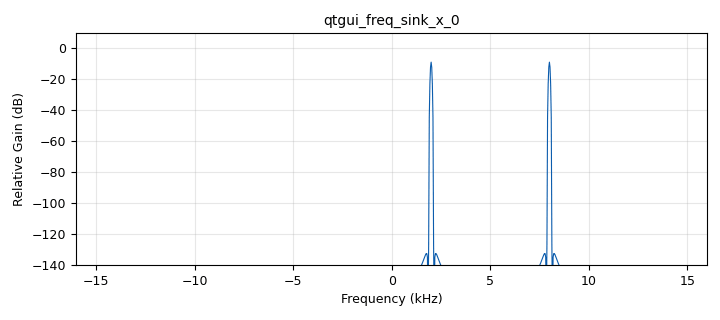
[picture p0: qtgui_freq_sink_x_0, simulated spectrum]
options:
  parameters:
    generate_options: qt_gui
    id: frequency_sum_test
    output_language: python
    title: Not titled yet
  states: {}

blocks:
- name: samp_rate
  id: variable
  parameters:
    value: '32000'
  states: {}
- name: analog_sig_source_x_0
  id: analog_sig_source_x
  parameters:
    amp: '1'
    freq: 8e3
    offset: '0'
    phase: '0'
    samp_rate: samp_rate
    type: complex
    waveform: analog.GR_COS_WAVE
  states: {}
- name: analog_sig_source_x_0_0
  id: analog_sig_source_x
  parameters:
    amp: '1'
    freq: 2e3
    offset: '0'
    phase: '0'
    samp_rate: samp_rate
    type: complex
    waveform: analog.GR_COS_WAVE
  states: {}
- name: blocks_add_xx_0
  id: blocks_add_xx
  parameters:
    type: complex
  states: {}
- name: blocks_throttle_0
  id: blocks_throttle
  parameters:
    samples_per_second: samp_rate
    type: complex
  states: {state: disabled}
- name: qtgui_freq_sink_x_0
  id: qtgui_freq_sink_x
  parameters:
    bw: samp_rate
    fc: '0'
    fftsize: '1024'
    type: complex
    wintype: firdes.WIN_BLACKMAN_hARRIS
  states: {}

connections:
- [analog_sig_source_x_0, '0', blocks_add_xx_0, '0']
- [analog_sig_source_x_0, '0', blocks_throttle_0, '0']
- [analog_sig_source_x_0_0, '0', blocks_add_xx_0, '1']
- [blocks_add_xx_0, '0', qtgui_freq_sink_x_0, '0']
- [blocks_throttle_0, '0', qtgui_freq_sink_x_0, '0']

metadata:
  file_format: 1
